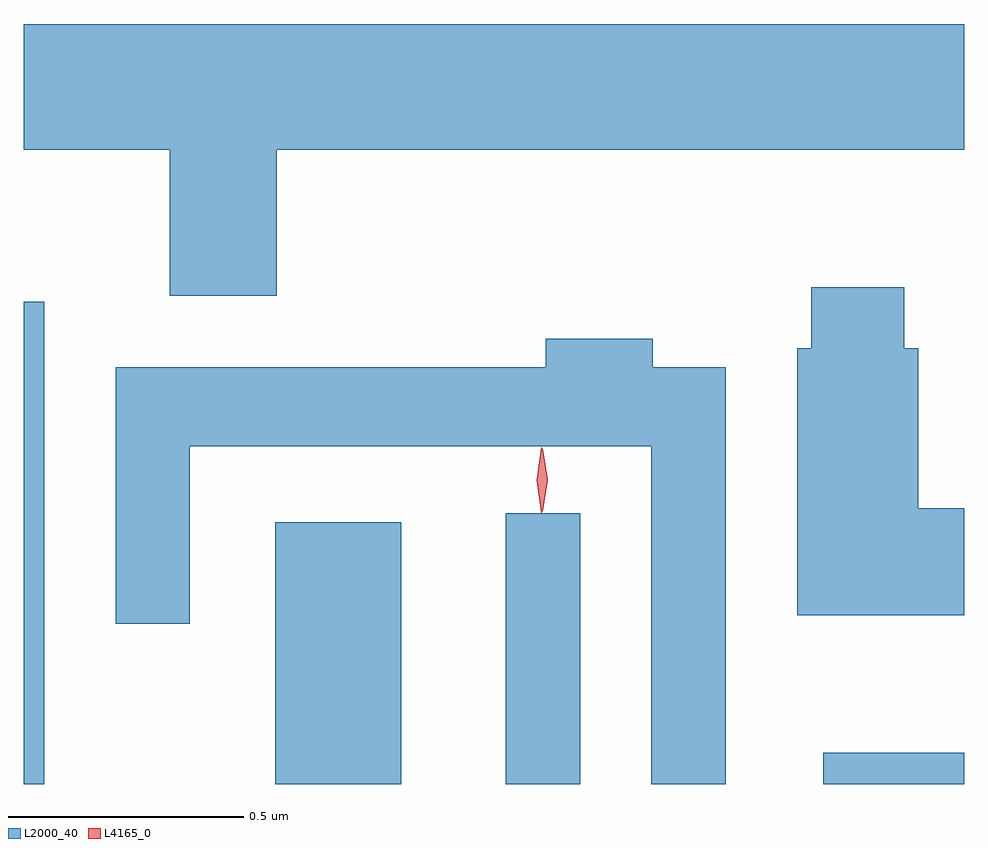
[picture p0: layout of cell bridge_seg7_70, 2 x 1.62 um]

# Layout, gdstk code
import gdstk
lib = gdstk.Library(unit=1e-6, precision=1e-09)
def R(c, l, rs):  # rectangles x0, y0, x1, y1
    for r in rs: c.add(gdstk.rectangle(r[:2], r[2:], *l))
def P(c, l, *ps):  # polygons
    for p in ps: c.add(gdstk.Polygon(p, *l))
L2000_40 = (2000, 40)
L4165_0 = (4165, 0)

bridge_seg7_70 = lib.new_cell('bridge_seg7_70')
R(bridge_seg7_70, L2000_40, [(1482.721,1746.267,1482.764,1747.293), (1483.256,1746.267,1483.524,1746.824), (1483.746,1746.267,1483.904,1746.843), (1484.421,1746.267,1484.721,1746.334)])
P(bridge_seg7_70, L2000_40, [(1483.259,1747.616),(1484.721,1747.616),(1484.721,1747.884),(1482.721,1747.884),(1482.721,1747.616),(1483.031,1747.616),(1483.031,1747.306),(1483.259,1747.306)],
  [(1484.721,1746.854),(1484.624,1746.854),(1484.624,1747.194),(1484.594,1747.194),(1484.594,1747.324),(1484.396,1747.324),(1484.396,1747.194),(1484.366,1747.194),(1484.366,1746.626),(1484.721,1746.626)],
  [(1484.214,1747.154),(1484.059,1747.154),(1484.059,1747.214),(1483.831,1747.214),(1483.831,1747.154),(1482.916,1747.154),(1482.916,1746.608),(1483.074,1746.608),(1483.074,1746.986),(1484.056,1746.986),(1484.056,1746.267),(1484.214,1746.267)])
P(bridge_seg7_70, L4165_0, [(1483.822,1746.843),(1483.822,1746.844),(1483.812,1746.913),(1483.822,1746.982),(1483.822,1746.983),(1483.823,1746.982),(1483.832,1746.913),(1483.823,1746.844)],
  [(1483.824,1746.847),(1483.815,1746.914),(1483.824,1746.98),(1483.825,1746.98),(1483.825,1746.98),(1483.835,1746.914),(1483.825,1746.847),(1483.825,1746.847)])

lib.write_gds('bridge_seg7_70.gds')
